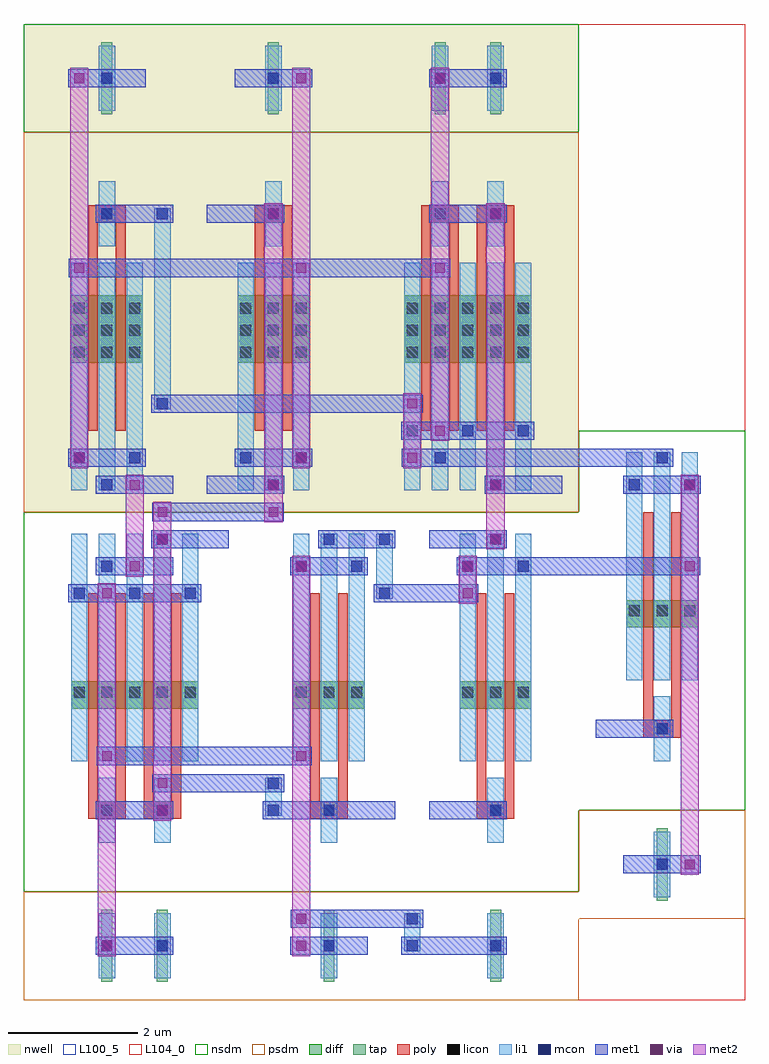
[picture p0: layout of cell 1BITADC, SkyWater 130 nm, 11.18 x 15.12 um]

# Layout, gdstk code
import gdstk
lib = gdstk.Library(unit=1e-6, precision=1e-09)
def R(c, l, rs):  # rectangles x0, y0, x1, y1
    for r in rs: c.add(gdstk.rectangle(r[:2], r[2:], *l))
def A(c, l, x, y, w, h, nx, ny, dx, dy):  # array of equal rectangles
    R(c, l, [(x+i*dx, y+j*dy, x+i*dx+w, y+j*dy+h) for i in range(nx) for j in range(ny)])
nwell = (64, 20)
diff = (65, 20)
tap = (65, 44)
poly = (66, 20)
licon = (66, 44)
li1 = (67, 20)
mcon = (67, 44)
met1 = (68, 20)
via = (68, 44)
met2 = (69, 20)
nsdm = (93, 44)
psdm = (94, 20)
L100_5 = (100, 5)
L104_0 = (104, 0)

c_1bitadc = lib.new_cell('1BITADC')
R(c_1bitadc, nwell, [(0,7.56,2.58,15.12), (2.58,7.56,5.16,15.12), (5.16,7.56,8.6,15.12)])
R(c_1bitadc, diff, [(0.735,4.515,2.705,4.935), (4.175,4.515,5.285,4.935), (6.755,4.515,7.865,4.935), (9.335,5.775,10.445,6.195), (0.735,9.87,1.845,10.92), (3.315,9.87,4.425,10.92), (5.895,9.87,7.865,10.92)])
A(c_1bitadc, tap, 2.065, 0.28, 0.17, 1.12, 3, 1, 2.58, 0)
A(c_1bitadc, tap, 1.205, 13.72, 0.17, 1.12, 3, 1, 2.58, 0)
R(c_1bitadc, tap, [(1.205,0.28,1.375,1.4), (9.805,1.54,9.975,2.66), (7.225,13.72,7.395,14.84)])
A(c_1bitadc, poly, 1.86, 2.805, 0.58, 0.27, 3, 1, 2.58, 0)
A(c_1bitadc, poly, 1, 2.94, 0.15, 3.36, 4, 1, 0.43, 0)
A(c_1bitadc, poly, 6.16, 8.82, 0.15, 3.36, 4, 1, 0.43, 0)
A(c_1bitadc, poly, 1, 12.045, 0.58, 0.27, 3, 1, 2.58, 0)
R(c_1bitadc, poly, [(1,2.805,1.58,3.075), (4.44,2.94,4.59,6.3), (4.87,2.94,5.02,6.3), (7.02,2.94,7.17,6.3), (7.45,2.94,7.6,6.3), (9.6,4.065,10.18,4.335), (9.6,4.2,9.75,7.56), (10.03,4.2,10.18,7.56), (1,8.82,1.15,12.18), (1.43,8.82,1.58,12.18), (3.58,8.82,3.73,12.18), (4.01,8.82,4.16,12.18), (7.02,12.045,7.6,12.315)])
A(c_1bitadc, licon, 2.065, 0.755, 0.17, 0.17, 3, 2, 2.58, 2.1)
A(c_1bitadc, licon, 0.775, 4.685, 0.17, 0.17, 3, 2, 0.43, 5.265)
A(c_1bitadc, licon, 1.635, 4.685, 0.17, 0.17, 3, 1, 0.43, 0)
A(c_1bitadc, licon, 4.215, 4.685, 0.17, 0.17, 3, 1, 0.43, 0)
A(c_1bitadc, licon, 6.795, 4.685, 0.17, 0.17, 3, 2, 0.43, 5.265)
A(c_1bitadc, licon, 9.375, 5.945, 0.17, 0.17, 3, 1, 0.43, 0)
A(c_1bitadc, licon, 3.355, 9.95, 0.17, 0.17, 3, 3, 0.43, 0.34)
A(c_1bitadc, licon, 5.935, 9.95, 0.17, 0.17, 3, 3, 0.43, 0.34)
A(c_1bitadc, licon, 0.775, 10.29, 0.17, 0.17, 3, 2, 0.43, 0.34)
A(c_1bitadc, licon, 6.795, 10.29, 0.17, 0.17, 3, 2, 0.43, 0.34)
A(c_1bitadc, licon, 1.205, 12.095, 0.17, 0.17, 3, 2, 2.58, 2.1)
R(c_1bitadc, licon, [(1.205,0.755,1.375,0.925), (9.805,2.015,9.975,2.185), (1.205,2.855,1.375,3.025), (9.805,4.115,9.975,4.285), (7.225,12.095,7.395,12.265), (7.225,14.195,7.395,14.365)])
A(c_1bitadc, li1, 2.025, 0.335, 0.25, 1.01, 3, 2, 2.58, 2.1)
A(c_1bitadc, li1, 0.735, 3.695, 0.25, 3.53, 5, 1, 0.43, 0)
A(c_1bitadc, li1, 4.175, 3.695, 0.25, 3.53, 3, 1, 0.43, 0)
A(c_1bitadc, li1, 6.755, 3.695, 0.25, 3.53, 3, 1, 0.43, 0)
A(c_1bitadc, li1, 9.335, 4.955, 0.25, 3.53, 3, 1, 0.43, 0)
A(c_1bitadc, li1, 0.735, 7.895, 0.25, 3.53, 3, 1, 0.43, 0)
A(c_1bitadc, li1, 3.315, 7.895, 0.25, 3.53, 3, 1, 0.43, 0)
A(c_1bitadc, li1, 5.895, 7.895, 0.25, 3.53, 5, 1, 0.43, 0)
A(c_1bitadc, li1, 1.165, 11.675, 0.25, 1.01, 3, 2, 2.58, 2.1)
R(c_1bitadc, li1, [(1.165,0.335,1.415,1.345), (5.895,0.755,6.145,1.345), (9.765,1.595,10.015,2.605), (1.165,2.435,1.415,3.445), (3.745,2.855,3.995,3.445), (9.765,3.695,10.015,4.705), (5.465,6.215,5.715,7.225), (2.025,9.155,2.275,12.265), (7.185,11.675,7.435,12.685), (7.185,13.775,7.435,14.785)])
A(c_1bitadc, mcon, 4.645, 0.755, 0.17, 0.17, 3, 1, 1.29, 0)
A(c_1bitadc, mcon, 0.775, 6.215, 0.17, 0.17, 3, 1, 0.86, 0)
A(c_1bitadc, mcon, 5.935, 8.735, 0.17, 0.17, 3, 1, 0.86, 0)
A(c_1bitadc, mcon, 1.205, 14.195, 0.17, 0.17, 3, 1, 2.58, 0)
R(c_1bitadc, mcon, [(1.205,0.755,1.375,0.925), (2.065,0.755,2.235,0.925), (5.935,1.175,6.105,1.345), (9.805,2.015,9.975,2.185), (1.205,2.855,1.375,3.025), (2.065,2.855,2.235,3.025), (3.785,2.855,3.955,3.025), (4.645,2.855,4.815,3.025), (7.225,2.855,7.395,3.025), (3.785,3.275,3.955,3.445), (9.805,4.115,9.975,4.285), (5.505,6.215,5.675,6.385), (1.205,6.635,1.375,6.805), (4.215,6.635,4.385,6.805), (5.075,6.635,5.245,6.805), (6.795,6.635,6.965,6.805), (7.655,6.635,7.825,6.805), (2.065,7.055,2.235,7.225), (4.645,7.055,4.815,7.225), (5.505,7.055,5.675,7.225), (7.225,7.055,7.395,7.225), (1.205,7.895,1.375,8.065), (3.785,7.895,3.955,8.065), (7.225,7.895,7.395,8.065), (9.375,7.895,9.545,8.065), (10.235,7.895,10.405,8.065), (0.775,8.315,0.945,8.485), (1.635,8.315,1.805,8.485), (3.355,8.315,3.525,8.485), (4.215,8.315,4.385,8.485), (6.365,8.315,6.535,8.485), (9.805,8.315,9.975,8.485), (2.065,9.155,2.235,9.325), (1.205,12.095,1.375,12.265), (2.065,12.095,2.235,12.265), (3.785,12.095,3.955,12.265), (6.365,12.095,6.535,12.265), (7.225,12.095,7.395,12.265), (7.225,14.195,7.395,14.365)])
R(c_1bitadc, met1, [(1.12,0.7,2.32,0.98), (4.13,0.7,5.33,0.98), (5.85,0.7,7.48,0.98), (4.14,1.12,6.19,1.4), (9.29,1.96,10.49,2.24), (1.12,2.8,2.32,3.08), (3.7,2.8,5.76,3.08), (6.28,2.8,7.48,3.08), (1.99,3.22,4.04,3.5), (1.13,3.64,4.46,3.92), (8.86,4.06,10.06,4.34), (0.69,6.16,2.75,6.44), (5.42,6.16,7.04,6.44), (1.12,6.58,2.32,6.86), (4.13,6.58,5.33,6.86), (6.71,6.58,10.48,6.86), (1.98,7,3.18,7.28), (4.56,7,5.76,7.28), (6.28,7,7.48,7.28), (1.99,7.42,4.03,7.7), (1.12,7.84,2.32,8.12), (2.84,7.84,4.04,8.12), (7.14,7.84,8.34,8.12), (9.29,7.84,10.49,8.12), (0.69,8.26,1.89,8.54), (3.27,8.26,4.47,8.54), (5.86,8.26,10.06,8.54), (5.85,8.68,7.91,8.96), (1.98,9.1,6.18,9.38), (0.7,11.2,6.61,11.48), (1.12,12.04,2.32,12.32), (2.84,12.04,4.04,12.32), (6.28,12.04,7.48,12.32), (0.69,14.14,1.89,14.42), (3.27,14.14,4.47,14.42), (6.28,14.14,7.48,14.42)])
A(c_1bitadc, via, 1.645, 6.645, 0.15, 0.15, 3, 1, 2.58, 0)
A(c_1bitadc, via, 0.785, 8.325, 0.15, 0.15, 1, 3, 0, 2.94)
A(c_1bitadc, via, 4.225, 8.325, 0.15, 0.15, 1, 3, 0, 2.94)
R(c_1bitadc, via, [(1.215,0.765,1.365,0.915), (4.225,0.765,4.375,0.915), (4.225,1.185,4.375,1.335), (10.245,2.025,10.395,2.175), (2.075,2.865,2.225,3.015), (2.075,3.285,2.225,3.435), (1.215,3.705,1.365,3.855), (4.225,3.705,4.375,3.855), (1.215,6.225,1.365,6.375), (6.805,6.225,6.955,6.375), (10.245,6.645,10.395,6.795), (2.075,7.065,2.225,7.215), (7.235,7.065,7.385,7.215), (2.075,7.485,2.225,7.635), (3.795,7.485,3.945,7.635), (1.645,7.905,1.795,8.055), (3.795,7.905,3.945,8.055), (7.235,7.905,7.385,8.055), (10.245,7.905,10.395,8.055), (5.945,8.325,6.095,8.475), (6.375,8.745,6.525,8.895), (5.945,9.165,6.095,9.315), (6.375,11.265,6.525,11.415), (3.795,12.105,3.945,12.255), (7.235,12.105,7.385,12.255), (6.375,14.205,6.525,14.355)])
R(c_1bitadc, met2, [(1.15,0.68,1.43,6.46), (4.16,0.68,4.44,6.88), (10.18,1.94,10.46,8.14), (2.01,2.78,2.29,7.72), (6.74,6.14,7.02,6.88), (1.58,6.56,1.86,8.14), (7.17,6.98,7.45,12.34), (3.73,7.4,4.01,12.34), (0.72,8.24,1,14.44), (4.16,8.24,4.44,14.44), (5.88,8.24,6.16,9.4), (6.31,8.66,6.59,14.44)])
R(c_1bitadc, nsdm, [(0,1.68,3.44,7.56), (3.44,1.68,6.02,7.56), (6.02,1.68,8.6,7.56), (8.6,2.94,11.18,8.82), (0,13.44,2.58,15.12), (2.58,13.44,5.16,15.12), (5.16,13.44,8.6,15.12)])
R(c_1bitadc, psdm, [(0,0,3.44,1.68), (3.44,0,6.02,1.68), (6.02,0,8.6,1.68), (8.6,1.26,11.18,2.94), (0,7.56,2.58,13.44), (2.58,7.56,5.16,13.44), (5.16,7.56,8.6,13.44)])
R(c_1bitadc, L100_5, [(0,0,11.18,15.12)])
R(c_1bitadc, L104_0, [(0,0,11.18,15.12)])

lib.write_gds('1BITADC.gds')
